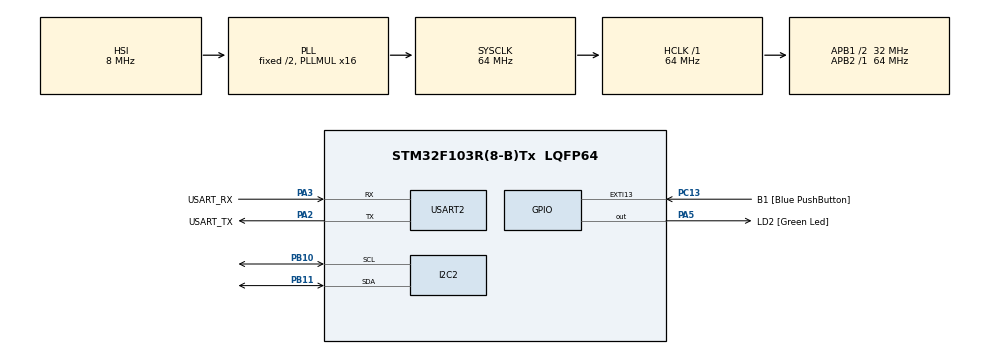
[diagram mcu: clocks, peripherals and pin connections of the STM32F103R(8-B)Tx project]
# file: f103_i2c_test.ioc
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I2C2.NoStretchMode=I2C_NOSTRETCH_ENABLE
Mcu.Family=STM32F1
Mcu.Name=STM32F103R(8-B)Tx
Mcu.Package=LQFP64
NVIC.EXTI15_10_IRQn=true\:0\:0\:false\:false\:true\:true\:true\:true
NVIC.I2C2_EV_IRQn=true\:0\:0\:false\:false\:true\:true\:true\:true
NVIC.PriorityGroup=NVIC_PRIORITYGROUP_4
PA13.GPIO_Label=TMS
PA13.Mode=Serial_Wire
PA13.Signal=SYS_JTMS-SWDIO
PA14.GPIO_Label=TCK
PA14.Mode=Serial_Wire
PA14.Signal=SYS_JTCK-SWCLK
PA2.GPIO_Label=USART_TX
PA2.GPIO_Mode=GPIO_MODE_AF_PP
PA2.GPIO_PuPd=GPIO_NOPULL
PA2.GPIO_Speed=GPIO_SPEED_FREQ_LOW
PA2.Mode=Asynchronous
PA2.Signal=USART2_TX
PA3.GPIO_Label=USART_RX
PA3.GPIO_Mode=GPIO_MODE_AF_PP
PA3.GPIO_PuPd=GPIO_NOPULL
PA3.GPIO_Speed=GPIO_SPEED_FREQ_LOW
PA3.Mode=Asynchronous
PA3.Signal=USART2_RX
PA5.GPIO_Label=LD2 [Green Led]
PA5.GPIO_ModeDefaultOutputPP=GPIO_MODE_OUTPUT_PP
PA5.GPIO_PuPd=GPIO_NOPULL
PA5.GPIO_Speed=GPIO_SPEED_FREQ_LOW
PA5.Signal=GPIO_Output
PB10.Mode=I2C
PB10.Signal=I2C2_SCL
PB11.Mode=I2C
PB11.Signal=I2C2_SDA
PB3.GPIO_Label=SWO
PB3.Signal=SYS_JTDO-TRACESWO
PC13-TAMPER-RTC.GPIO_Label=B1 [Blue PushButton]
PC13-TAMPER-RTC.GPIO_PuPd=GPIO_NOPULL
PC13-TAMPER-RTC.Signal=GPXTI13
PC14-OSC32_IN.Mode=LSE-External-Oscillator
PC14-OSC32_IN.Signal=RCC_OSC32_IN
PC15-OSC32_OUT.Mode=LSE-External-Oscillator
PC15-OSC32_OUT.Signal=RCC_OSC32_OUT
PD0-OSC_IN.Mode=HSE-External-Clock-Source
PD0-OSC_IN.Signal=RCC_OSC_IN
PD1-OSC_OUT.Mode=HSE-External-Clock-Source
PD1-OSC_OUT.Signal=RCC_OSC_OUT
ProjectManager.HeapSize=0x200
ProjectManager.StackSize=0x400
ProjectManager.TargetToolchain=STM32CubeIDE
RCC.AHBFreq_Value=64000000
RCC.APB1CLKDivider=RCC_HCLK_DIV2
RCC.APB1Freq_Value=32000000
RCC.APB1TimFreq_Value=64000000
RCC.APB2Freq_Value=64000000
RCC.APB2TimFreq_Value=64000000
RCC.HCLKFreq_Value=64000000
RCC.PLLMUL=RCC_PLL_MUL16
RCC.RTCClockSelection=RCC_RTCCLKSOURCE_LSE
RCC.SYSCLKFreq_VALUE=64000000
RCC.SYSCLKSource=RCC_SYSCLKSOURCE_PLLCLK
RCC.USBFreq_Value=64000000
USART2.VirtualMode=VM_ASYNC
board=NUCLEO-F103RB

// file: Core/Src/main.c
/* USER CODE BEGIN Header */
/**
  ******************************************************************************
  * @file           : main.c
  * @brief          : Main program body
  ******************************************************************************
  * @attention
  *
  * Copyright (c) 2025 STMicroelectronics.
  * All rights reserved.
  *
  * This software is licensed under terms that can be found in the LICENSE file
  * in the root directory of this software component.
  * If no LICENSE file comes with this software, it is provided AS-IS.
  *
  ******************************************************************************
  */
/* USER CODE END Header */
#include "main.h"

I2C_HandleTypeDef hi2c2;

UART_HandleTypeDef huart2;

/* USER CODE BEGIN PV */
uint8_t Tx[6] = {0xde, 0xad, 0xbe, 0xef, 0x01, 0x02};
uint8_t stm_cmd[6] = {0x55, 0xAA, 0x11, 0x00, 0x23, 0x34};
uint8_t Rx[12];
uint8_t HUSKY_ADDRESS = 0x32;
uint8_t ADDRESS = 0x30;

/* USER CODE END PV */

void SystemClock_Config(void);
static void MX_GPIO_Init(void);
static void MX_USART2_UART_Init(void);
static void MX_I2C2_Init(void);

int main(void)
{

  /* MCU Configuration--------------------------------------------------------*/

  /* Reset of all peripherals, Initializes the Flash interface and the Systick. */
  HAL_Init();

  /* Configure the system clock */
  SystemClock_Config();

  /* Initialize all configured peripherals */
  MX_GPIO_Init();
  MX_USART2_UART_Init();
  MX_I2C2_Init();
  /* USER CODE BEGIN 2 */
  	Tx[6] = stm_cmd[6];
  	ADDRESS = HUSKY_ADDRESS;
//  	HAL_I2C_Master_Transmit(&hi2c2, (ADDRESS)<<1, Tx, 4, HAL_MAX_DELAY);
  	HAL_I2C_Master_Transmit(&hi2c2, (0x32)<<1, 0x00, 1, HAL_MAX_DELAY);
  	HAL_I2C_Master_Receive_IT(&hi2c2, ADDRESS<<1, Rx, sizeof(Rx));

  /* USER CODE END 2 */

  /* Infinite loop */
  /* USER CODE BEGIN WHILE */
  while (1)
  {
	  HAL_I2C_Master_Transmit(&hi2c2, (0x32)<<1, Tx, sizeof(Tx), HAL_MAX_DELAY);
	  HAL_Delay(10);
    /* USER CODE END WHILE */

  }
}

void SystemClock_Config(void)
{
  RCC_OscInitTypeDef RCC_OscInitStruct = {0};
  RCC_ClkInitTypeDef RCC_ClkInitStruct = {0};

  /** Initializes the RCC Oscillators according to the specified parameters
  * in the RCC_OscInitTypeDef structure.
  */
  RCC_OscInitStruct.OscillatorType = RCC_OSCILLATORTYPE_HSI;
  RCC_OscInitStruct.HSIState = RCC_HSI_ON;
  RCC_OscInitStruct.HSICalibrationValue = RCC_HSICALIBRATION_DEFAULT;
  RCC_OscInitStruct.PLL.PLLState = RCC_PLL_ON;
  RCC_OscInitStruct.PLL.PLLSource = RCC_PLLSOURCE_HSI_DIV2;
  RCC_OscInitStruct.PLL.PLLMUL = RCC_PLL_MUL16;
  if (HAL_RCC_OscConfig(&RCC_OscInitStruct) != HAL_OK)
  {
    Error_Handler();
  }

  /** Initializes the CPU, AHB and APB buses clocks
  */
  RCC_ClkInitStruct.ClockType = RCC_CLOCKTYPE_HCLK|RCC_CLOCKTYPE_SYSCLK
                              |RCC_CLOCKTYPE_PCLK1|RCC_CLOCKTYPE_PCLK2;
  RCC_ClkInitStruct.SYSCLKSource = RCC_SYSCLKSOURCE_PLLCLK;
  RCC_ClkInitStruct.AHBCLKDivider = RCC_SYSCLK_DIV1;
  RCC_ClkInitStruct.APB1CLKDivider = RCC_HCLK_DIV2;
  RCC_ClkInitStruct.APB2CLKDivider = RCC_HCLK_DIV1;

  if (HAL_RCC_ClockConfig(&RCC_ClkInitStruct, FLASH_LATENCY_2) != HAL_OK)
  {
    Error_Handler();
  }
}

static void MX_I2C2_Init(void)
{

  hi2c2.Instance = I2C2;
  hi2c2.Init.ClockSpeed = 100000;
  hi2c2.Init.DutyCycle = I2C_DUTYCYCLE_2;
  hi2c2.Init.OwnAddress1 = 0;
  hi2c2.Init.AddressingMode = I2C_ADDRESSINGMODE_7BIT;
  hi2c2.Init.DualAddressMode = I2C_DUALADDRESS_DISABLE;
  hi2c2.Init.OwnAddress2 = 0;
  hi2c2.Init.GeneralCallMode = I2C_GENERALCALL_DISABLE;
  hi2c2.Init.NoStretchMode = I2C_NOSTRETCH_ENABLE;
  if (HAL_I2C_Init(&hi2c2) != HAL_OK)
  {
    Error_Handler();
  }

}

static void MX_USART2_UART_Init(void)
{

  huart2.Instance = USART2;
  huart2.Init.BaudRate = 115200;
  huart2.Init.WordLength = UART_WORDLENGTH_8B;
  huart2.Init.StopBits = UART_STOPBITS_1;
  huart2.Init.Parity = UART_PARITY_NONE;
  huart2.Init.Mode = UART_MODE_TX_RX;
  huart2.Init.HwFlowCtl = UART_HWCONTROL_NONE;
  huart2.Init.OverSampling = UART_OVERSAMPLING_16;
  if (HAL_UART_Init(&huart2) != HAL_OK)
  {
    Error_Handler();
  }

}

static void MX_GPIO_Init(void)
{
  GPIO_InitTypeDef GPIO_InitStruct = {0};

  /* GPIO Ports Clock Enable */
  __HAL_RCC_GPIOC_CLK_ENABLE();
  __HAL_RCC_GPIOD_CLK_ENABLE();
  __HAL_RCC_GPIOA_CLK_ENABLE();
  __HAL_RCC_GPIOB_CLK_ENABLE();

  /*Configure GPIO pin Output Level */
  HAL_GPIO_WritePin(LD2_GPIO_Port, LD2_Pin, GPIO_PIN_RESET);

  /*Configure GPIO pin : B1_Pin */
  GPIO_InitStruct.Pin = B1_Pin;
  GPIO_InitStruct.Mode = GPIO_MODE_IT_RISING;
  GPIO_InitStruct.Pull = GPIO_NOPULL;
  HAL_GPIO_Init(B1_GPIO_Port, &GPIO_InitStruct);

  /*Configure GPIO pin : LD2_Pin */
  GPIO_InitStruct.Pin = LD2_Pin;
  GPIO_InitStruct.Mode = GPIO_MODE_OUTPUT_PP;
  GPIO_InitStruct.Pull = GPIO_NOPULL;
  GPIO_InitStruct.Speed = GPIO_SPEED_FREQ_LOW;
  HAL_GPIO_Init(LD2_GPIO_Port, &GPIO_InitStruct);

  /* EXTI interrupt init*/
  HAL_NVIC_SetPriority(EXTI15_10_IRQn, 0, 0);
  HAL_NVIC_EnableIRQ(EXTI15_10_IRQn);

}

/* USER CODE BEGIN 4 */
void HAL_GPIO_EXTI_Callback(uint16_t GPIO_Pin)
{
	Tx[6] = stm_cmd[6];
	ADDRESS = HUSKY_ADDRESS;
	HAL_I2C_Master_Transmit(&hi2c2, (ADDRESS)<<1, Tx, 4, HAL_MAX_DELAY);
}

void HAL_I2C_MasterRxCpltCallback(I2C_HandleTypeDef *hi2c)
{
	HAL_I2C_Master_Receive_IT(&hi2c2, ADDRESS<<1, Rx, sizeof(Rx));
}

/* USER CODE END 4 */

void Error_Handler(void)
{
  __disable_irq();
  while (1)
  {
  }
}
